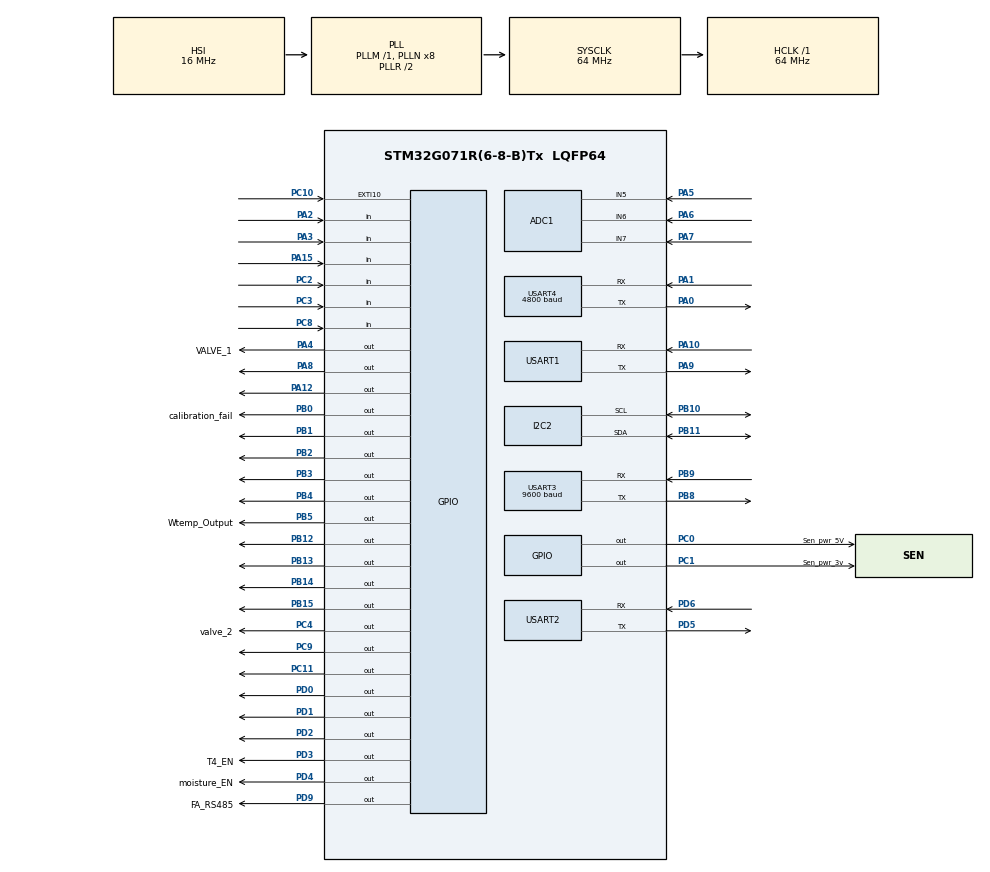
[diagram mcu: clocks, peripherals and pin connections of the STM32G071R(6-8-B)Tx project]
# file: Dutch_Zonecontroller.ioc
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ADC1.Channel-7\#ChannelRegularConversion=ADC_CHANNEL_6
ADC1.ClockPrescaler=ADC_CLOCK_SYNC_PCLK_DIV4
ADC1.ContinuousConvMode=DISABLE
ADC1.EOCSelection=ADC_EOC_SINGLE_CONV
ADC1.NbrOfConversion=1
ADC1.NbrOfConversionFlag=1
ADC1.Rank-7\#ChannelRegularConversion=1
ADC1.SamplingTime-7\#ChannelRegularConversion=ADC_SAMPLINGTIME_COMMON_1
ADC1.SamplingTimeCommon1=ADC_SAMPLETIME_39CYCLES_5
ADC1.SamplingTimeCommon2=ADC_SAMPLETIME_39CYCLES_5
ADC1.ScanConvMode=ADC_SCAN_DISABLE
ADC1.SelectedChannel=ADC_CHANNEL_5|ADC_CHANNEL_6|ADC_CHANNEL_7
ADC1.Sequencer=FULLY_CONFIGURABLE
ADC1.master=1
I2C2.CustomTiming=Enabled
I2C2.Timing=0x10B17DB5
IWDG.Prescaler=IWDG_PRESCALER_256
IWDG.Reload=624
Mcu.Family=STM32G0
Mcu.Name=STM32G071R(6-8-B)Tx
Mcu.Package=LQFP64
NVIC.EXTI4_15_IRQn=true\:0\:0\:false\:false\:true\:true\:true\:true
NVIC.TIM2_IRQn=true\:0\:0\:false\:false\:true\:true\:true\:true
NVIC.TIM3_IRQn=true\:0\:0\:false\:false\:true\:true\:true\:true
NVIC.TIM6_DAC_LPTIM1_IRQn=true\:0\:0\:false\:false\:true\:true\:true\:true
NVIC.USART1_IRQn=true\:0\:0\:false\:false\:true\:true\:true\:true
NVIC.USART2_IRQn=true\:0\:0\:false\:false\:true\:true\:true\:true
PA0.Mode=Asynchronous
PA0.Signal=USART4_TX
PA1.Mode=Asynchronous
PA1.Signal=USART4_RX
PA10.Mode=Asynchronous
PA10.Signal=USART1_RX
PA12\ [PA10].Signal=GPIO_Output
PA15.Signal=GPIO_Input
PA2.Signal=GPIO_Input
PA3.Signal=GPIO_Input
PA4.GPIO_Label=VALVE_1
PA4.Signal=GPIO_Output
PA5.Mode=IN5
PA5.Signal=ADC1_IN5
PA6.Mode=IN6
PA6.Signal=ADC1_IN6
PA7.Mode=IN7
PA7.Signal=ADC1_IN7
PA8.Signal=GPIO_Output
PA9.Mode=Asynchronous
PA9.Signal=USART1_TX
PB0.GPIO_Label=calibration_fail
PB0.Signal=GPIO_Output
PB1.Signal=GPIO_Output
PB10.Mode=I2C
PB10.Signal=I2C2_SCL
PB11.Mode=I2C
PB11.Signal=I2C2_SDA
PB12.Signal=GPIO_Output
PB13.Signal=GPIO_Output
PB14.Signal=GPIO_Output
PB15.Signal=GPIO_Output
PB2.Signal=GPIO_Output
PB3.Signal=GPIO_Output
PB4.Signal=GPIO_Output
PB5.GPIO_Label=Wtemp_Output
PB5.Signal=GPIO_Output
PB8.Mode=Asynchronous
PB8.Signal=USART3_TX
PB9.Mode=Asynchronous
PB9.Signal=USART3_RX
PC0.GPIO_Label=Sen_pwr_5V
PC0.Signal=GPIO_Output
PC1.GPIO_Label=Sen_pwr_3v
PC1.Signal=GPIO_Output
PC10.GPIO_ModeDefaultEXTI=GPIO_MODE_IT_FALLING
PC10.Signal=GPXTI10
PC11.Signal=GPIO_Output
PC14-OSC32_IN\ (PC14).Mode=LSE-External-Oscillator
PC14-OSC32_IN\ (PC14).Signal=RCC_OSC32_IN
PC15-OSC32_OUT\ (PC15).Mode=LSE-External-Oscillator
PC15-OSC32_OUT\ (PC15).Signal=RCC_OSC32_OUT
PC2.Signal=GPIO_Input
PC3.Signal=GPIO_Input
PC4.GPIO_Label=valve_2
PC4.Signal=GPIO_Output
PC8.Signal=GPIO_Input
PC9.Signal=GPIO_Output
PD0.Signal=GPIO_Output
PD1.Signal=GPIO_Output
PD2.Signal=GPIO_Output
PD3.GPIO_Label=T4_EN
PD3.Signal=GPIO_Output
PD4.GPIO_Label=moisture_EN
PD4.Signal=GPIO_Output
PD5.Mode=Asynchronous
PD5.Signal=USART2_TX
PD6.Mode=Asynchronous
PD6.Signal=USART2_RX
PD9.GPIO_Label=FA_RS485
PD9.Signal=GPIO_Output
ProjectManager.HeapSize=0x200
ProjectManager.StackSize=0x400
ProjectManager.TargetToolchain=STM32CubeIDE
RCC.ADCFreq_Value=64000000
RCC.AHBFreq_Value=64000000
RCC.CortexFreq_Value=64000000
RCC.EXTERNAL_CLOCK_VALUE=48000
RCC.HCLKFreq_Value=64000000
RCC.HSE_VALUE=8000000
RCC.HSI_VALUE=16000000
RCC.LPUART1CLockSelection=RCC_LPUART1CLKSOURCE_HSI
RCC.RTCClockSelection=RCC_RTCCLKSOURCE_LSE
RCC.SYSCLKFreq_VALUE=64000000
RCC.SYSCLKSource=RCC_SYSCLKSOURCE_PLLCLK
RCC.VCOOutputFreq_Value=128000000
TIM2.Period=0xFFFF-1
TIM2.Prescaler=24-1
TIM3.Period=31999-1
TIM3.Prescaler=999-1
TIM6.Period=999
TIM6.Prescaler=63999
USART1.FIFOMode=FIFOMODE_ENABLE
USART1.VirtualMode-Asynchronous=VM_ASYNC
USART2.FIFOMode=FIFOMODE_ENABLE
USART2.VirtualMode-Asynchronous=VM_ASYNC
USART3.BaudRate=9600
USART3.VirtualMode-Asynchronous=VM_ASYNC
USART4.BaudRate=4800
USART4.VirtualMode-Asynchronous=VM_ASYNC
VP_IWDG_VS_IWDG.Mode=IWDG_Activate
VP_RTC_VS_RTC_Activate.Mode=RTC_Enabled
VP_TIM2_VS_ClockSourceINT.Mode=Internal
VP_TIM3_VS_ClockSourceINT.Mode=Internal
VP_TIM6_VS_ClockSourceINT.Mode=Enable_Timer
board=custom

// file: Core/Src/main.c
/* USER CODE BEGIN Header */
/**
  ******************************************************************************
  * @Author         : Sridhar
  * @file           : main.c
  * @brief          : Main program body
  ******************************************************************************
  * @attention
  *
  * Copyright (c) 2025 STMicroelectronics.
  * All rights reserved.
  *
  * This software is licensed under terms that can be found in the LICENSE file
  * in the root directory of this software component.
  * If no LICENSE file comes with this software, it is provided AS-IS.
  *
  ******************************************************************************
  */
/* USER CODE END Header */
#include "main.h"

/* USER CODE BEGIN Includes */
#include "WaterTempSensor.h"
#include <stdio.h>
#include <string.h>
#include <stdint.h>
#include "pH_Sensor.h"
#include "EC_Sensor.h"
#include "soil_moisture.h"
#include "EEPROM.h"
#include"Digital_input.h"
#include"sys_control.h"
#include <stdbool.h>
#include"VEML7700.h"
#include "HTU21D.h"
#include "RelayInit.h"
#include "Error_Handling.h"
#include "FA_RS485.h"
#include "callibration.h"
#include "Rtcupdate.h"
/* USER CODE END Includes */

/* USER CODE BEGIN PD */
#define UFS_ADDRESS	  1
#define READ_HOLDING_REGISTERS 0x03
#define humidity_start_ADDRESS	0x00
#define humidity_end_ADDRESS	0x00
#define humidity_lengthS_ADDRESS	0x00
#define humidity_lengthE_ADDRESS	0x01
#define condumptionbyte 7
#define ERROR_THRESHOLD  20
#define TP4_ADDRESS	  1
#define TP4READ_INPUT_REGISTERS 0x04
#define TP4_start_ADDRESS	0x00
#define TP4_end_ADDRESS	0x00
#define TP4_Status_ADDRESS 0x0e
#define TP4_lengthS_ADDRESS	0x00
#define TP4_lengthE_ADDRESS	0x01
#define TP4_condumptionbyte 7

#define TP4_ADDRESS	  1
#define TP4READ_HOLDING_REGISTERS 0x03
#define TP4_SET_start_ADDRESS	0x00
#define TP4_SET_end_ADDRESS	0x05
#define TP4_SET_lengthS_ADDRESS	0x00
#define TP4_SET_lengthE_ADDRESS	0x04
#define TP4_SET_condumptionbyte 13

float Wtemp=0,pH,Ec,Lux,hum_Value,Temp_value;
char buffer[200];// String buffer

int16_t soilmoisuture[15],TP4_TEMP_Value,TP4_Status;
int16_t last_valid_value[15];
uint8_t error_count[15];
int8_t TP4_Set,TP4_Temp_error;
volatile uint8_t PH_EC_cnt=0,sensorRcnt=0,fogger_delay_active;
uint8_t W_lvl1 =0,W_lvl2=0,Ec_A,Ec_B,pH_Up,pH_Down,W_lvlstatus,TP4_WStatus,TP4_ERROR,Lux_Error,Envir_HT_Error;
volatile uint16_t Dosestart_cnt1=0,Ec_PumpON_cnt=0,pH_pumpON_cnt=0,Ecmixcnt=0,pHdmixcnt,pHupmixcnt,output_timer_count=0,count_update;
volatile uint32_t Eccycle_cnt=0,pHcycle_cnt=0,fogger_delay_counter,pump_on_seconds,pump_on_hours;
bool Dosestartflag=true,Sen_read3vflag=true,Sen_read5vflag=false,ECflag=false;
extern bool ECDose_Activeflag,ECcycle_Tflag,pH_pump_Activeflag,pHcycle_Tflag,ECmixflag,pHdmixflag,pHupmixflag,pH_UPpump_Activeflag;
extern uint8_t Tp4_Fan_WStatus,output_triggered,macro_status,micro_status,waterpump_status,count_updateflag;
extern uint32_t HUM_FOG_WaitTime,pump_auto_Man;
extern volatile uint8_t FrameReceived, buttonHandled,valvestatus,uart2_frame_ready;
extern uint32_t Total_no_mois,nutrient_ON_sec;
volatile bool soil_readflag =false;
/* USER CODE END PD */

ADC_HandleTypeDef hadc1;

I2C_HandleTypeDef hi2c2;

IWDG_HandleTypeDef hiwdg;

RTC_HandleTypeDef hrtc;

TIM_HandleTypeDef htim2;
TIM_HandleTypeDef htim3;
TIM_HandleTypeDef htim6;

UART_HandleTypeDef huart1;
UART_HandleTypeDef huart2;
UART_HandleTypeDef huart3;
UART_HandleTypeDef huart4;

void SystemClock_Config(void);
static void MX_GPIO_Init(void);
static void MX_TIM2_Init(void);
static void MX_USART2_UART_Init(void);
static void MX_ADC1_Init(void);
static void MX_TIM3_Init(void);
static void MX_IWDG_Init(void);
static void MX_USART3_UART_Init(void);
static void MX_USART4_UART_Init(void);
static void MX_I2C2_Init(void);
static void MX_USART1_UART_Init(void);
static void MX_RTC_Init(void);
static void MX_TIM6_Init(void);

/* USER CODE BEGIN 0 */

void ThreeV_sensor() {

	if (Sen_read3vflag) {

		sensor_pwr_3v(1);

		if (PH_EC_cnt >= 10) {

			Wtemp = Temperature_Read();
			if(Wtemp==85){
				Wtemp=25;
			}

			//Wtemp_Error=water_Temp_Error(Wtemp);

			Lux = VEML7700_GetLx();
			Lux_Error=Light_Error(Lux);

			hum_Value = gethumidity();
            Temp_value = get_Temp();
            Envir_HT_Error=HT_Error(hum_Value,Temp_value);

          	W_lvl1 = waterlevel1(); //low
			W_lvl2 = waterlevel2(); //High

			W_lvlstatus = waterlevel(W_lvl1, W_lvl2);

			sensor_pwr_3v(0);
			valvecont(W_lvlstatus);
			Sen_read3vflag = false;
			Sen_read5vflag = true;
			PH_EC_cnt = 0;

		}

	}

}
void FiveV_sensor() {

	if (Sen_read5vflag) {

		sensor_pwr_5v(1);

		if (PH_EC_cnt >= 10) {

			TP4_TEMP_Value = Get_Consumption(TP4_ADDRESS, TP4_start_ADDRESS,
			TP4_end_ADDRESS, TP4_lengthS_ADDRESS, TP4_lengthE_ADDRESS,
			TP4_condumptionbyte, 1, TP4READ_INPUT_REGISTERS);

			TP4_Temp_error=	TP4_Terror(TP4_TEMP_Value);

//      		TP4_Set = Get_Consumption(TP4_ADDRESS, TP4_SET_start_ADDRESS,
//					TP4_SET_end_ADDRESS, TP4_SET_lengthS_ADDRESS,
//					TP4_SET_lengthE_ADDRESS, TP4_SET_condumptionbyte, 2,
//					TP4READ_HOLDING_REGISTERS);

			TP4_WStatus = TP4_fogger_O_P(hum_Value,Envir_HT_Error);
			TP4_WStatus = TP4_curtain_O_P(Lux,Lux_Error);

			TP4_Status = Get_Consumption(TP4_ADDRESS, TP4_start_ADDRESS,
						TP4_Status_ADDRESS, TP4_lengthS_ADDRESS, TP4_lengthE_ADDRESS,
						TP4_condumptionbyte, 1, TP4READ_INPUT_REGISTERS); //outputstatus

			TP4_Decode_Outputs(TP4_Status);
			TP4_ERROR = TP4_Modbus_error(TP4_TEMP_Value, TP4_Set, TP4_WStatus,TP4_Status,Tp4_Fan_WStatus);

			Ec_A = Ec_A_Level();
			Ec_B = Ec_B_Level();
			pH_Up = pH_Up_Level();
			pH_Down = pH_Down_Level();
			Sen_read5vflag = false;
		    sensor_pwr_5v(0);
			ECflag = true;
			PH_EC_cnt = 0;

		}

	}

}

void Read_Soil_Moisture_Step(void)
{

	static uint8_t current_sensor = 0;
	 int16_t value;
	 value = Get_Consumption(
        UFS_ADDRESS + current_sensor,       // sensor Modbus ID
        humidity_start_ADDRESS,
        humidity_end_ADDRESS,
        humidity_lengthS_ADDRESS,
        humidity_lengthE_ADDRESS,
        condumptionbyte,
        0,
        READ_HOLDING_REGISTERS);

   //  Print the value on UART2

    /* -------- Error filter -------- */
	 if (value == -5)
	     {
	         error_count[current_sensor]++;

	         if (error_count[current_sensor] >= ERROR_THRESHOLD)
	         {
	             // ❗ Same sensor failed 5 times continuously
	             soilmoisuture[current_sensor] = -5;
	         }
	         else
	         {
	             // Keep last valid value
	             soilmoisuture[current_sensor] = last_valid_value[current_sensor];
	         }
	     }
	     else
	     {
	         // Valid reading
	         soilmoisuture[current_sensor] = value;
	         last_valid_value[current_sensor] = value;
	         error_count[current_sensor] = 0;   // reset only this sensor
	     }
//	    sprintf(buffer, "Soil Moisture[%d]: %d\r\n", current_sensor + 1, soilmoisuture[current_sensor]);
//	    HAL_UART_Transmit(&huart2, (uint8_t*)buffer, strlen(buffer), HAL_MAX_DELAY);
//

    // Move to next sensor
    current_sensor++;

    // ✅ If all sensors have been read once — call waterpump()
    if (current_sensor >= Total_no_mois)
    {
        current_sensor = 0; // reset index
        waterpump(soilmoisuture, Total_no_mois);
    }
}

/* USER CODE END 0 */

int main(void)
{

  /* MCU Configuration--------------------------------------------------------*/

  /* Reset of all peripherals, Initializes the Flash interface and the Systick. */
  HAL_Init();

  /* Configure the system clock */
  SystemClock_Config();

  /* Initialize all configured peripherals */
  MX_GPIO_Init();
  MX_TIM2_Init();
  MX_USART2_UART_Init();
  MX_ADC1_Init();
  MX_TIM3_Init();
  MX_IWDG_Init();
  MX_USART3_UART_Init();
  MX_USART4_UART_Init();
  MX_I2C2_Init();
  MX_USART1_UART_Init();
  MX_RTC_Init();
  MX_TIM6_Init();
  /* USER CODE BEGIN 2 */
  PowerOnVEML7700();

	sprintf(buffer, "reset............\r\n");
  HAL_UART_Transmit(&huart2, (uint8_t*)buffer, strlen(buffer), HAL_MAX_DELAY);

  read_EEPROM();
  backup_write_EEPROM();
  backup_read_EEPROM();
  Modbus_StartReception();
  HAL_TIM_Base_Start(&htim2);
  HAL_TIM_Base_Start_IT(&htim3);
  HAL_TIM_Base_Start_IT(&htim6);
  HAL_Delay(1000);
  PH_EC_cnt=0;

   Write_Single_Register(1,0x0008, 900);

   Write_Single_Register(1,0x0006,900);

  /* USER CODE END 2 */

  /* Infinite loop */
  /* USER CODE BEGIN WHILE */
	while (1) {

		HAL_IWDG_Refresh(&hiwdg); // Refresh before 5s expires
		if (!valvestatus) {
			ThreeV_sensor();
			FiveV_sensor();

			Ec = get_EC();
			pH = get_PH();
		}

		if (valvestatus) {

			W_lvl1 = waterlevel1(); //low
			W_lvl2 = waterlevel2(); //High
			W_lvlstatus = waterlevel(W_lvl1, W_lvl2);
			valvecont(W_lvlstatus);
			PH_EC_cnt = 0;
		}

		if (FrameReceived) {
			Process_Slave_Request();
		}

		//if(uart2_frame_ready){
			 Process_UART2_Command();
			//uart2_frame_ready = 0;
//		}

		if (soil_readflag) {
			Read_Soil_Moisture_Step();
			soil_readflag = false;

		}
		nutrientdosage(Ec_A, Ec_B, pH_Down, pH_Up);

		if (!buttonHandled) {
			CheckButtonPress();
		}

		if (AnyLEDActive()) {
			UpdateLEDTimers();
		}
		if (pump_auto_Man) {
			Relay_Schedule_Control();
		}

		micro_Macro();

    /* USER CODE END WHILE */

	}
}

void SystemClock_Config(void)
{
  RCC_OscInitTypeDef RCC_OscInitStruct = {0};
  RCC_ClkInitTypeDef RCC_ClkInitStruct = {0};

  /** Configure the main internal regulator output voltage
  */
  HAL_PWREx_ControlVoltageScaling(PWR_REGULATOR_VOLTAGE_SCALE1);

  /** Configure LSE Drive Capability
  */
  HAL_PWR_EnableBkUpAccess();
  __HAL_RCC_LSEDRIVE_CONFIG(RCC_LSEDRIVE_LOW);

  /** Initializes the RCC Oscillators according to the specified parameters
  * in the RCC_OscInitTypeDef structure.
  */
  RCC_OscInitStruct.OscillatorType = RCC_OSCILLATORTYPE_HSI|RCC_OSCILLATORTYPE_LSI
                              |RCC_OSCILLATORTYPE_LSE;
  RCC_OscInitStruct.LSEState = RCC_LSE_ON;
  RCC_OscInitStruct.HSIState = RCC_HSI_ON;
  RCC_OscInitStruct.HSIDiv = RCC_HSI_DIV1;
  RCC_OscInitStruct.HSICalibrationValue = RCC_HSICALIBRATION_DEFAULT;
  RCC_OscInitStruct.LSIState = RCC_LSI_ON;
  RCC_OscInitStruct.PLL.PLLState = RCC_PLL_ON;
  RCC_OscInitStruct.PLL.PLLSource = RCC_PLLSOURCE_HSI;
  RCC_OscInitStruct.PLL.PLLM = RCC_PLLM_DIV1;
  RCC_OscInitStruct.PLL.PLLN = 8;
  RCC_OscInitStruct.PLL.PLLP = RCC_PLLP_DIV2;
  RCC_OscInitStruct.PLL.PLLQ = RCC_PLLQ_DIV2;
  RCC_OscInitStruct.PLL.PLLR = RCC_PLLR_DIV2;
  if (HAL_RCC_OscConfig(&RCC_OscInitStruct) != HAL_OK)
  {
    Error_Handler();
  }

  /** Initializes the CPU, AHB and APB buses clocks
  */
  RCC_ClkInitStruct.ClockType = RCC_CLOCKTYPE_HCLK|RCC_CLOCKTYPE_SYSCLK
                              |RCC_CLOCKTYPE_PCLK1;
  RCC_ClkInitStruct.SYSCLKSource = RCC_SYSCLKSOURCE_PLLCLK;
  RCC_ClkInitStruct.AHBCLKDivider = RCC_SYSCLK_DIV1;
  RCC_ClkInitStruct.APB1CLKDivider = RCC_HCLK_DIV1;

  if (HAL_RCC_ClockConfig(&RCC_ClkInitStruct, FLASH_LATENCY_2) != HAL_OK)
  {
    Error_Handler();
  }
}

static void MX_ADC1_Init(void)
{

  ADC_ChannelConfTypeDef sConfig = {0};

  /** Configure the global features of the ADC (Clock, Resolution, Data Alignment and number of conversion)
  */
  hadc1.Instance = ADC1;
  hadc1.Init.ClockPrescaler = ADC_CLOCK_SYNC_PCLK_DIV4;
  hadc1.Init.Resolution = ADC_RESOLUTION_12B;
  hadc1.Init.DataAlign = ADC_DATAALIGN_RIGHT;
  hadc1.Init.ScanConvMode = ADC_SCAN_DISABLE;
  hadc1.Init.EOCSelection = ADC_EOC_SINGLE_CONV;
  hadc1.Init.LowPowerAutoWait = DISABLE;
  hadc1.Init.LowPowerAutoPowerOff = DISABLE;
  hadc1.Init.ContinuousConvMode = DISABLE;
  hadc1.Init.NbrOfConversion = 1;
  hadc1.Init.DiscontinuousConvMode = DISABLE;
  hadc1.Init.ExternalTrigConv = ADC_SOFTWARE_START;
  hadc1.Init.ExternalTrigConvEdge = ADC_EXTERNALTRIGCONVEDGE_NONE;
  hadc1.Init.DMAContinuousRequests = DISABLE;
  hadc1.Init.Overrun = ADC_OVR_DATA_PRESERVED;
  hadc1.Init.SamplingTimeCommon1 = ADC_SAMPLETIME_39CYCLES_5;
  hadc1.Init.SamplingTimeCommon2 = ADC_SAMPLETIME_39CYCLES_5;
  hadc1.Init.OversamplingMode = DISABLE;
  hadc1.Init.TriggerFrequencyMode = ADC_TRIGGER_FREQ_HIGH;
  if (HAL_ADC_Init(&hadc1) != HAL_OK)
  {
    Error_Handler();
  }

  /** Configure Regular Channel
  */
  sConfig.Channel = ADC_CHANNEL_6;
  sConfig.Rank = ADC_REGULAR_RANK_1;
  sConfig.SamplingTime = ADC_SAMPLINGTIME_COMMON_1;
  if (HAL_ADC_ConfigChannel(&hadc1, &sConfig) != HAL_OK)
  {
    Error_Handler();
  }
  /* USER CODE BEGIN ADC1_Init 2 */
  if (HAL_ADCEx_Calibration_Start(&hadc1) != HAL_OK) {
      Error_Handler();
    }

  /* USER CODE END ADC1_Init 2 */

}

static void MX_I2C2_Init(void)
{

  hi2c2.Instance = I2C2;
  hi2c2.Init.Timing = 0x10B17DB5;
  hi2c2.Init.OwnAddress1 = 0;
  hi2c2.Init.AddressingMode = I2C_ADDRESSINGMODE_7BIT;
  hi2c2.Init.DualAddressMode = I2C_DUALADDRESS_DISABLE;
  hi2c2.Init.OwnAddress2 = 0;
  hi2c2.Init.OwnAddress2Masks = I2C_OA2_NOMASK;
  hi2c2.Init.GeneralCallMode = I2C_GENERALCALL_DISABLE;
  hi2c2.Init.NoStretchMode = I2C_NOSTRETCH_DISABLE;
  if (HAL_I2C_Init(&hi2c2) != HAL_OK)
  {
    Error_Handler();
  }

  /** Configure Analogue filter
  */
  if (HAL_I2CEx_ConfigAnalogFilter(&hi2c2, I2C_ANALOGFILTER_ENABLE) != HAL_OK)
  {
    Error_Handler();
  }

  /** Configure Digital filter
  */
  if (HAL_I2CEx_ConfigDigitalFilter(&hi2c2, 0) != HAL_OK)
  {
    Error_Handler();
  }

}

static void MX_IWDG_Init(void)
{

  hiwdg.Instance = IWDG;
  hiwdg.Init.Prescaler = IWDG_PRESCALER_256;
  hiwdg.Init.Window = 4095;
  hiwdg.Init.Reload = 624;
  if (HAL_IWDG_Init(&hiwdg) != HAL_OK)
  {
    Error_Handler();
  }

}

static void MX_RTC_Init(void)
{

  /* USER CODE BEGIN RTC_Init 0 */
	 __HAL_RCC_PWR_CLK_ENABLE();
	     HAL_PWR_EnableBkUpAccess();
  /* USER CODE END RTC_Init 0 */

  /** Initialize RTC Only
  */
  hrtc.Instance = RTC;
  hrtc.Init.HourFormat = RTC_HOURFORMAT_24;
  hrtc.Init.AsynchPrediv = 127;
  hrtc.Init.SynchPrediv = 255;
  hrtc.Init.OutPut = RTC_OUTPUT_DISABLE;
  hrtc.Init.OutPutRemap = RTC_OUTPUT_REMAP_NONE;
  hrtc.Init.OutPutPolarity = RTC_OUTPUT_POLARITY_HIGH;
  hrtc.Init.OutPutType = RTC_OUTPUT_TYPE_OPENDRAIN;
  hrtc.Init.OutPutPullUp = RTC_OUTPUT_PULLUP_NONE;
  if (HAL_RTC_Init(&hrtc) != HAL_OK)
  {
    Error_Handler();
  }

}

static void MX_TIM2_Init(void)
{

  TIM_ClockConfigTypeDef sClockSourceConfig = {0};
  TIM_MasterConfigTypeDef sMasterConfig = {0};

  htim2.Instance = TIM2;
  htim2.Init.Prescaler = 24-1;
  htim2.Init.CounterMode = TIM_COUNTERMODE_UP;
  htim2.Init.Period = 0xFFFF-1;
  htim2.Init.ClockDivision = TIM_CLOCKDIVISION_DIV1;
  htim2.Init.AutoReloadPreload = TIM_AUTORELOAD_PRELOAD_DISABLE;
  if (HAL_TIM_Base_Init(&htim2) != HAL_OK)
  {
    Error_Handler();
  }
  sClockSourceConfig.ClockSource = TIM_CLOCKSOURCE_INTERNAL;
  if (HAL_TIM_ConfigClockSource(&htim2, &sClockSourceConfig) != HAL_OK)
  {
    Error_Handler();
  }
  sMasterConfig.MasterOutputTrigger = TIM_TRGO_RESET;
  sMasterConfig.MasterSlaveMode = TIM_MASTERSLAVEMODE_DISABLE;
  if (HAL_TIMEx_MasterConfigSynchronization(&htim2, &sMasterConfig) != HAL_OK)
  {
    Error_Handler();
  }

}

static void MX_TIM3_Init(void)
{

  TIM_ClockConfigTypeDef sClockSourceConfig = {0};
  TIM_MasterConfigTypeDef sMasterConfig = {0};

  htim3.Instance = TIM3;
  htim3.Init.Prescaler = 999-1;
  htim3.Init.CounterMode = TIM_COUNTERMODE_UP;
  htim3.Init.Period = 31999-1;
  htim3.Init.ClockDivision = TIM_CLOCKDIVISION_DIV1;
  htim3.Init.AutoReloadPreload = TIM_AUTORELOAD_PRELOAD_DISABLE;
  if (HAL_TIM_Base_Init(&htim3) != HAL_OK)
  {
    Error_Handler();
  }
  sClockSourceConfig.ClockSource = TIM_CLOCKSOURCE_INTERNAL;
  if (HAL_TIM_ConfigClockSource(&htim3, &sClockSourceConfig) != HAL_OK)
  {
    Error_Handler();
  }
  sMasterConfig.MasterOutputTrigger = TIM_TRGO_RESET;
  sMasterConfig.MasterSlaveMode = TIM_MASTERSLAVEMODE_DISABLE;
  if (HAL_TIMEx_MasterConfigSynchronization(&htim3, &sMasterConfig) != HAL_OK)
  {
    Error_Handler();
  }

}

static void MX_TIM6_Init(void)
{

  TIM_MasterConfigTypeDef sMasterConfig = {0};

  htim6.Instance = TIM6;
  htim6.Init.Prescaler = 63999;
  htim6.Init.CounterMode = TIM_COUNTERMODE_UP;
  htim6.Init.Period = 999;
  htim6.Init.AutoReloadPreload = TIM_AUTORELOAD_PRELOAD_DISABLE;
  if (HAL_TIM_Base_Init(&htim6) != HAL_OK)
  {
    Error_Handler();
  }
  sMasterConfig.MasterOutputTrigger = TIM_TRGO_RESET;
  sMasterConfig.MasterSlaveMode = TIM_MASTERSLAVEMODE_DISABLE;
  if (HAL_TIMEx_MasterConfigSynchronization(&htim6, &sMasterConfig) != HAL_OK)
  {
    Error_Handler();
  }

}

static void MX_USART1_UART_Init(void)
{

  huart1.Instance = USART1;
  huart1.Init.BaudRate = 115200;
  huart1.Init.WordLength = UART_WORDLENGTH_8B;
  huart1.Init.StopBits = UART_STOPBITS_1;
  huart1.Init.Parity = UART_PARITY_NONE;
  huart1.Init.Mode = UART_MODE_TX_RX;
  huart1.Init.HwFlowCtl = UART_HWCONTROL_NONE;
  huart1.Init.OverSampling = UART_OVERSAMPLING_16;
  huart1.Init.OneBitSampling = UART_ONE_BIT_SAMPLE_DISABLE;
  huart1.Init.ClockPrescaler = UART_PRESCALER_DIV1;
  huart1.AdvancedInit.AdvFeatureInit = UART_ADVFEATURE_NO_INIT;
  if (HAL_UART_Init(&huart1) != HAL_OK)
  {
    Error_Handler();
  }
  if (HAL_UARTEx_SetTxFifoThreshold(&huart1, UART_TXFIFO_THRESHOLD_1_8) != HAL_OK)
  {
    Error_Handler();
  }
  if (HAL_UARTEx_SetRxFifoThreshold(&huart1, UART_RXFIFO_THRESHOLD_1_8) != HAL_OK)
  {
    Error_Handler();
  }
  if (HAL_UARTEx_EnableFifoMode(&huart1) != HAL_OK)
  {
    Error_Handler();
  }

}

static void MX_USART2_UART_Init(void)
{

  huart2.Instance = USART2;
  huart2.Init.BaudRate = 115200;
  huart2.Init.WordLength = UART_WORDLENGTH_8B;
  huart2.Init.StopBits = UART_STOPBITS_1;
  huart2.Init.Parity = UART_PARITY_NONE;
  huart2.Init.Mode = UART_MODE_TX_RX;
  huart2.Init.HwFlowCtl = UART_HWCONTROL_NONE;
  huart2.Init.OverSampling = UART_OVERSAMPLING_16;
  huart2.Init.OneBitSampling = UART_ONE_BIT_SAMPLE_DISABLE;
  huart2.Init.ClockPrescaler = UART_PRESCALER_DIV1;
  huart2.AdvancedInit.AdvFeatureInit = UART_ADVFEATURE_NO_INIT;
  if (HAL_UART_Init(&huart2) != HAL_OK)
  {
    Error_Handler();
  }
  if (HAL_UARTEx_SetTxFifoThreshold(&huart2, UART_TXFIFO_THRESHOLD_1_8) != HAL_OK)
  {
    Error_Handler();
  }
  if (HAL_UARTEx_SetRxFifoThreshold(&huart2, UART_RXFIFO_THRESHOLD_1_8) != HAL_OK)
  {
    Error_Handler();
  }
  if (HAL_UARTEx_EnableFifoMode(&huart2) != HAL_OK)
  {
    Error_Handler();
  }

}

static void MX_USART3_UART_Init(void)
{

  huart3.Instance = USART3;
  huart3.Init.BaudRate = 9600;
  huart3.Init.WordLength = UART_WORDLENGTH_8B;
  huart3.Init.StopBits = UART_STOPBITS_1;
  huart3.Init.Parity = UART_PARITY_NONE;
  huart3.Init.Mode = UART_MODE_TX_RX;
  huart3.Init.HwFlowCtl = UART_HWCONTROL_NONE;
  huart3.Init.OverSampling = UART_OVERSAMPLING_16;
  huart3.Init.OneBitSampling = UART_ONE_BIT_SAMPLE_DISABLE;
  huart3.Init.ClockPrescaler = UART_PRESCALER_DIV1;
  huart3.AdvancedInit.AdvFeatureInit = UART_ADVFEATURE_NO_INIT;
  if (HAL_UART_Init(&huart3) != HAL_OK)
  {
    Error_Handler();
  }

}

static void MX_USART4_UART_Init(void)
{

  huart4.Instance = USART4;
  huart4.Init.BaudRate = 4800;
  huart4.Init.WordLength = UART_WORDLENGTH_8B;
  huart4.Init.StopBits = UART_STOPBITS_1;
  huart4.Init.Parity = UART_PARITY_NONE;
  huart4.Init.Mode = UART_MODE_TX_RX;
  huart4.Init.HwFlowCtl = UART_HWCONTROL_NONE;
  huart4.Init.OverSampling = UART_OVERSAMPLING_16;
  huart4.Init.OneBitSampling = UART_ONE_BIT_SAMPLE_DISABLE;
  huart4.Init.ClockPrescaler = UART_PRESCALER_DIV1;
  huart4.AdvancedInit.AdvFeatureInit = UART_ADVFEATURE_NO_INIT;
  if (HAL_UART_Init(&huart4) != HAL_OK)
  {
    Error_Handler();
  }

}

static void MX_GPIO_Init(void)
{
  GPIO_InitTypeDef GPIO_InitStruct = {0};

  /* GPIO Ports Clock Enable */
  __HAL_RCC_GPIOC_CLK_ENABLE();
  __HAL_RCC_GPIOA_CLK_ENABLE();
  __HAL_RCC_GPIOB_CLK_ENABLE();
  __HAL_RCC_GPIOD_CLK_ENABLE();

  /*Configure GPIO pin Output Level */
  HAL_GPIO_WritePin(GPIOC, GPIO_PIN_11|Sen_pwr_5V_Pin|Sen_pwr_3v_Pin|valve_2_Pin
                          |GPIO_PIN_9, GPIO_PIN_RESET);

  /*Configure GPIO pin Output Level */
  HAL_GPIO_WritePin(GPIOA, VALVE_1_Pin|GPIO_PIN_8|GPIO_PIN_12, GPIO_PIN_RESET);

  /*Configure GPIO pin Output Level */
  HAL_GPIO_WritePin(GPIOB, calibration_fail_Pin|GPIO_PIN_1|GPIO_PIN_2|GPIO_PIN_12
                          |GPIO_PIN_13|GPIO_PIN_14|GPIO_PIN_15|GPIO_PIN_3
                          |GPIO_PIN_4|Wtemp_Output_Pin, GPIO_PIN_RESET);

  /*Configure GPIO pin Output Level */
  HAL_GPIO_WritePin(GPIOD, FA_RS485_Pin|GPIO_PIN_0|GPIO_PIN_1|GPIO_PIN_2
                          |T4_EN_Pin|moisture_EN_Pin, GPIO_PIN_RESET);

  /*Configure GPIO pins : PC11 Sen_pwr_5V_Pin Sen_pwr_3v_Pin valve_2_Pin
                           PC9 */
  GPIO_InitStruct.Pin = GPIO_PIN_11|Sen_pwr_5V_Pin|Sen_pwr_3v_Pin|valve_2_Pin
                          |GPIO_PIN_9;
  GPIO_InitStruct.Mode = GPIO_MODE_OUTPUT_PP;
  GPIO_InitStruct.Pull = GPIO_NOPULL;
  GPIO_InitStruct.Speed = GPIO_SPEED_FREQ_LOW;
  HAL_GPIO_Init(GPIOC, &GPIO_InitStruct);

  /*Configure GPIO pins : PC2 PC3 PC8 */
  GPIO_InitStruct.Pin = GPIO_PIN_2|GPIO_PIN_3|GPIO_PIN_8;
  GPIO_InitStruct.Mode = GPIO_MODE_INPUT;
  GPIO_InitStruct.Pull = GPIO_NOPULL;
  HAL_GPIO_Init(GPIOC, &GPIO_InitStruct);

  /*Configure GPIO pins : PA2 PA3 PA15 */
  GPIO_InitStruct.Pin = GPIO_PIN_2|GPIO_PIN_3|GPIO_PIN_15;
  GPIO_InitStruct.Mode = GPIO_MODE_INPUT;
  GPIO_InitStruct.Pull = GPIO_NOPULL;
  HAL_GPIO_Init(GPIOA, &GPIO_InitStruct);

  /*Configure GPIO pins : VALVE_1_Pin PA8 PA12 */
  GPIO_InitStruct.Pin = VALVE_1_Pin|GPIO_PIN_8|GPIO_PIN_12;
  GPIO_InitStruct.Mode = GPIO_MODE_OUTPUT_PP;
  GPIO_InitStruct.Pull = GPIO_NOPULL;
  GPIO_InitStruct.Speed = GPIO_SPEED_FREQ_LOW;
  HAL_GPIO_Init(GPIOA, &GPIO_InitStruct);

  /*Configure GPIO pins : calibration_fail_Pin PB1 PB2 PB12
                           PB13 PB14 PB15 PB3
                           PB4 Wtemp_Output_Pin */
  GPIO_InitStruct.Pin = calibration_fail_Pin|GPIO_PIN_1|GPIO_PIN_2|GPIO_PIN_12
                          |GPIO_PIN_13|GPIO_PIN_14|GPIO_PIN_15|GPIO_PIN_3
                          |GPIO_PIN_4|Wtemp_Output_Pin;
  GPIO_InitStruct.Mode = GPIO_MODE_OUTPUT_PP;
  GPIO_InitStruct.Pull = GPIO_NOPULL;
  GPIO_InitStruct.Speed = GPIO_SPEED_FREQ_LOW;
  HAL_GPIO_Init(GPIOB, &GPIO_InitStruct);

  /*Configure GPIO pins : FA_RS485_Pin PD0 PD1 PD2
                           T4_EN_Pin moisture_EN_Pin */
  GPIO_InitStruct.Pin = FA_RS485_Pin|GPIO_PIN_0|GPIO_PIN_1|GPIO_PIN_2
                          |T4_EN_Pin|moisture_EN_Pin;
  GPIO_InitStruct.Mode = GPIO_MODE_OUTPUT_PP;
  GPIO_InitStruct.Pull = GPIO_NOPULL;
  GPIO_InitStruct.Speed = GPIO_SPEED_FREQ_LOW;
  HAL_GPIO_Init(GPIOD, &GPIO_InitStruct);

  /*Configure GPIO pin : PC10 */
  GPIO_InitStruct.Pin = GPIO_PIN_10;
  GPIO_InitStruct.Mode = GPIO_MODE_IT_FALLING;
  GPIO_InitStruct.Pull = GPIO_NOPULL;
  HAL_GPIO_Init(GPIOC, &GPIO_InitStruct);

  /* EXTI interrupt init*/
  HAL_NVIC_SetPriority(EXTI4_15_IRQn, 0, 0);
  HAL_NVIC_EnableIRQ(EXTI4_15_IRQn);

}

/* USER CODE BEGIN 4 */
void MX_GPIO_Init_Input(void) {
	GPIO_InitTypeDef GPIO_InitStruct = { 0 };
	/* USER CODE BEGIN MX_GPIO_Init_1 */
	/* USER CODE END MX_GPIO_Init_1 */

	/* GPIO Ports Clock Enable */
	__HAL_RCC_GPIOB_CLK_ENABLE();

	/*Configure GPIO pin : PB5 */
	GPIO_InitStruct.Pin = Wtemp_Output_Pin;
	GPIO_InitStruct.Mode = GPIO_MODE_INPUT;
	GPIO_InitStruct.Pull = GPIO_PULLUP;
	GPIO_InitStruct.Speed = GPIO_SPEED_FREQ_MEDIUM;
	HAL_GPIO_Init(Wtemp_Output_GPIO_Port, &GPIO_InitStruct);

	/* USER CODE BEGIN MX_GPIO_Init_2 */
	/* USER CODE END MX_GPIO_Init_2 */
}

void MX_GPIO_Init_Output(void) {
	GPIO_InitTypeDef GPIO_InitStruct = { 0 };
	/* USER CODE BEGIN MX_GPIO_Init_1 */
	/* USER CODE END MX_GPIO_Init_1 */

	/* GPIO Ports Clock Enable */
	__HAL_RCC_GPIOA_CLK_ENABLE();
	__HAL_RCC_GPIOB_CLK_ENABLE();

	/*Configure GPIO pin Output Level */
	HAL_GPIO_WritePin(Wtemp_Output_GPIO_Port, Wtemp_Output_Pin, GPIO_PIN_RESET);

	/*Configure GPIO pin : PB12 */
	GPIO_InitStruct.Pin = Wtemp_Output_Pin;
	GPIO_InitStruct.Mode = GPIO_MODE_OUTPUT_PP;
	// GPIO_InitStruct.Pull = GPIO_NOPULL;
	GPIO_InitStruct.Speed = GPIO_SPEED_FREQ_MEDIUM;
	HAL_GPIO_Init(Wtemp_Output_GPIO_Port, &GPIO_InitStruct);

	/* USER CODE BEGIN MX_GPIO_Init_2 */
	/* USER CODE END MX_GPIO_Init_2 */
}

void PH_ADC1_Init(void)
{
    ADC_ChannelConfTypeDef sConfig = {0};

    hadc1.Instance = ADC1;
       hadc1.Init.ClockPrescaler = ADC_CLOCK_SYNC_PCLK_DIV4;
       hadc1.Init.Resolution = ADC_RESOLUTION_12B;
       hadc1.Init.DataAlign = ADC_DATAALIGN_RIGHT;
       hadc1.Init.ScanConvMode = ADC_SCAN_DISABLE;
       hadc1.Init.EOCSelection = ADC_EOC_SINGLE_CONV;
       hadc1.Init.LowPowerAutoWait = DISABLE;
       hadc1.Init.LowPowerAutoPowerOff = DISABLE;
       hadc1.Init.ContinuousConvMode = DISABLE;
       hadc1.Init.NbrOfConversion = 1;
       hadc1.Init.DiscontinuousConvMode = DISABLE;
       hadc1.Init.ExternalTrigConv = ADC_SOFTWARE_START;
       hadc1.Init.ExternalTrigConvEdge = ADC_EXTERNALTRIGCONVEDGE_NONE;
       hadc1.Init.DMAContinuousRequests = DISABLE;
       hadc1.Init.Overrun = ADC_OVR_DATA_PRESERVED;
       hadc1.Init.SamplingTimeCommon1 = ADC_SAMPLETIME_39CYCLES_5;
       hadc1.Init.SamplingTimeCommon2 = ADC_SAMPLETIME_39CYCLES_5;
       hadc1.Init.OversamplingMode = DISABLE;
       hadc1.Init.TriggerFrequencyMode = ADC_TRIGGER_FREQ_HIGH;
       if (HAL_ADC_Init(&hadc1) != HAL_OK)
       {
         Error_Handler();
       }

    sConfig.Channel      = ADC_CHANNEL_6;    // PA6
    sConfig.Rank         = ADC_REGULAR_RANK_1;
    sConfig.SamplingTime = ADC_SAMPLINGTIME_COMMON_1;

    if (HAL_ADC_ConfigChannel(&hadc1, &sConfig) != HAL_OK) {
        Error_Handler();
    }
}

void EC_ADC1_Init(void)
{
    ADC_ChannelConfTypeDef sConfig = {0};

    hadc1.Instance = ADC1;
       hadc1.Init.ClockPrescaler = ADC_CLOCK_SYNC_PCLK_DIV4;
       hadc1.Init.Resolution = ADC_RESOLUTION_12B;
       hadc1.Init.DataAlign = ADC_DATAALIGN_RIGHT;
       hadc1.Init.ScanConvMode = ADC_SCAN_DISABLE;
       hadc1.Init.EOCSelection = ADC_EOC_SINGLE_CONV;
       hadc1.Init.LowPowerAutoWait = DISABLE;
       hadc1.Init.LowPowerAutoPowerOff = DISABLE;
       hadc1.Init.ContinuousConvMode = DISABLE;
       hadc1.Init.NbrOfConversion = 1;
       hadc1.Init.DiscontinuousConvMode = DISABLE;
       hadc1.Init.ExternalTrigConv = ADC_SOFTWARE_START;
       hadc1.Init.ExternalTrigConvEdge = ADC_EXTERNALTRIGCONVEDGE_NONE;
       hadc1.Init.DMAContinuousRequests = DISABLE;
       hadc1.Init.Overrun = ADC_OVR_DATA_PRESERVED;
       hadc1.Init.SamplingTimeCommon1 = ADC_SAMPLETIME_39CYCLES_5;
       hadc1.Init.SamplingTimeCommon2 = ADC_SAMPLETIME_39CYCLES_5;
       hadc1.Init.OversamplingMode = DISABLE;
       hadc1.Init.TriggerFrequencyMode = ADC_TRIGGER_FREQ_HIGH;
       if (HAL_ADC_Init(&hadc1) != HAL_OK)
       {
         Error_Handler();
       }

    sConfig.Channel      = ADC_CHANNEL_7;    // PA7
    sConfig.Rank         = ADC_REGULAR_RANK_1;
    sConfig.SamplingTime = ADC_SAMPLINGTIME_COMMON_1;

    if (HAL_ADC_ConfigChannel(&hadc1, &sConfig) != HAL_OK) {
        Error_Handler();
    }
}

void Hum_ADC1_Init(void)
{

	  ADC_ChannelConfTypeDef sConfig = {0};

	  hadc1.Instance = ADC1;
	  hadc1.Init.ClockPrescaler = ADC_CLOCK_SYNC_PCLK_DIV4;
	  hadc1.Init.Resolution = ADC_RESOLUTION_12B;
	  hadc1.Init.DataAlign = ADC_DATAALIGN_RIGHT;
	  hadc1.Init.ScanConvMode = ADC_SCAN_SEQ_FIXED_BACKWARD;
	  hadc1.Init.EOCSelection = ADC_EOC_SINGLE_CONV;
	  hadc1.Init.LowPowerAutoWait = DISABLE;
	  hadc1.Init.LowPowerAutoPowerOff = DISABLE;
	  hadc1.Init.ContinuousConvMode = DISABLE;
	  hadc1.Init.NbrOfConversion = 1;
	  hadc1.Init.DiscontinuousConvMode = DISABLE;
	  hadc1.Init.ExternalTrigConv = ADC_SOFTWARE_START;
	  hadc1.Init.ExternalTrigConvEdge = ADC_EXTERNALTRIGCONVEDGE_NONE;
	  hadc1.Init.DMAContinuousRequests = DISABLE;
	  hadc1.Init.Overrun = ADC_OVR_DATA_PRESERVED;
	  hadc1.Init.SamplingTimeCommon1 = ADC_SAMPLETIME_39CYCLES_5;
	  hadc1.Init.OversamplingMode = DISABLE;
	  hadc1.Init.TriggerFrequencyMode = ADC_TRIGGER_FREQ_HIGH;
	  if (HAL_ADC_Init(&hadc1) != HAL_OK)
	  {
	    Error_Handler();
	  }

  sConfig.Channel      = ADC_CHANNEL_18;   // PC5
  sConfig.Rank         = ADC_REGULAR_RANK_1;
  sConfig.SamplingTime = ADC_SAMPLINGTIME_COMMON_1;

  if (HAL_ADC_ConfigChannel(&hadc1, &sConfig) != HAL_OK) {
    Error_Handler();
  }
//  if (HAL_ADCEx_Calibration_Start(&hadc1) != HAL_OK) {
//        Error_Handler();
//      }

}

void Temp_ADC1_Init(void)
{
  ADC_ChannelConfTypeDef sConfig = {0};

  hadc1.Instance = ADC1;
    hadc1.Init.ClockPrescaler = ADC_CLOCK_SYNC_PCLK_DIV4;
    hadc1.Init.Resolution = ADC_RESOLUTION_12B;
    hadc1.Init.DataAlign = ADC_DATAALIGN_RIGHT;
    hadc1.Init.ScanConvMode = ADC_SCAN_DISABLE;
    hadc1.Init.EOCSelection = ADC_EOC_SINGLE_CONV;
    hadc1.Init.LowPowerAutoWait = DISABLE;
    hadc1.Init.LowPowerAutoPowerOff = DISABLE;
    hadc1.Init.ContinuousConvMode = DISABLE;
    hadc1.Init.NbrOfConversion = 1;
    hadc1.Init.DiscontinuousConvMode = DISABLE;
    hadc1.Init.ExternalTrigConv = ADC_SOFTWARE_START;
    hadc1.Init.ExternalTrigConvEdge = ADC_EXTERNALTRIGCONVEDGE_NONE;
    hadc1.Init.DMAContinuousRequests = DISABLE;
    hadc1.Init.Overrun = ADC_OVR_DATA_PRESERVED;
    hadc1.Init.SamplingTimeCommon1 = ADC_SAMPLETIME_39CYCLES_5;
    hadc1.Init.SamplingTimeCommon2 = ADC_SAMPLETIME_39CYCLES_5;
    hadc1.Init.OversamplingMode = DISABLE;
    hadc1.Init.TriggerFrequencyMode = ADC_TRIGGER_FREQ_HIGH;
    if (HAL_ADC_Init(&hadc1) != HAL_OK)
    {
      Error_Handler();
    }

  sConfig.Channel      = ADC_CHANNEL_5;    // PC0
  sConfig.Rank         = ADC_REGULAR_RANK_1;
  sConfig.SamplingTime = ADC_SAMPLINGTIME_COMMON_1;

  if (HAL_ADC_ConfigChannel(&hadc1, &sConfig) != HAL_OK) {
    Error_Handler();
  }

//  if (HAL_ADCEx_Calibration_Start(&hadc1) != HAL_OK) {
//         Error_Handler();
//       }

}

void HAL_TIM_PeriodElapsedCallback(TIM_HandleTypeDef *htim) {

	if (htim->Instance == TIM3) {
		// 500 ms interrupt here
		soil_readflag=true;

		PH_EC_cnt++;

		if (Dosestartflag) {
			Dosestart_cnt1++;
		}
		if (ECDose_Activeflag) {
			Ec_PumpON_cnt++;

		}

		if (ECcycle_Tflag) {
			Eccycle_cnt++;
		}

		if(ECmixflag){
			Ecmixcnt++;
		}

		if (pH_pump_Activeflag) {
			pH_pumpON_cnt++;
		}
		if(pH_UPpump_Activeflag){
			pH_pumpON_cnt++;
		}

		if (pHcycle_Tflag) {
			pHcycle_cnt++;

		}

		if(pHdmixflag){
			pHdmixcnt++;
		}

		if(pHupmixflag){
			pHupmixcnt++;
		}

		 if (fogger_delay_active) {
			fogger_delay_counter++;
			if (fogger_delay_counter >= (HUM_FOG_WaitTime*120)) {
				fogger_delay_active = 0;
				fogger_delay_counter = 0;
			}
		}

		 if(output_triggered == 1)
		         {
		             output_timer_count++;    // count every 500ms

		             if(output_timer_count >= nutrient_ON_sec*2)
		             {

		             	macro_nutrient(0);
		             	micro_nutrient(0);
		             	macro_status=0;
		             	 micro_status=0;
		             	output_timer_count=0;
		                output_triggered = 0;  // Ready for next day's trigger

		             }
		         }

	}
	else if(htim->Instance == TIM6){

		 if (waterpump_status == 1)
		        {
		            pump_on_seconds++;

		            if (pump_on_seconds >= 3600)
		            {
		                pump_on_seconds = 0;   // reset seconds
		                pump_on_hours++;       // ✅ 1 hour completed
		            }
		        }

		 if(!count_updateflag){

			 count_update++;

			 if(count_update>=300){
				 count_update=0;
				 count_updateflag=1;

			 }
		 }

	}

}

/* USER CODE END 4 */

void Error_Handler(void)
{
  __disable_irq();
  while (1)
  {
  }
}
